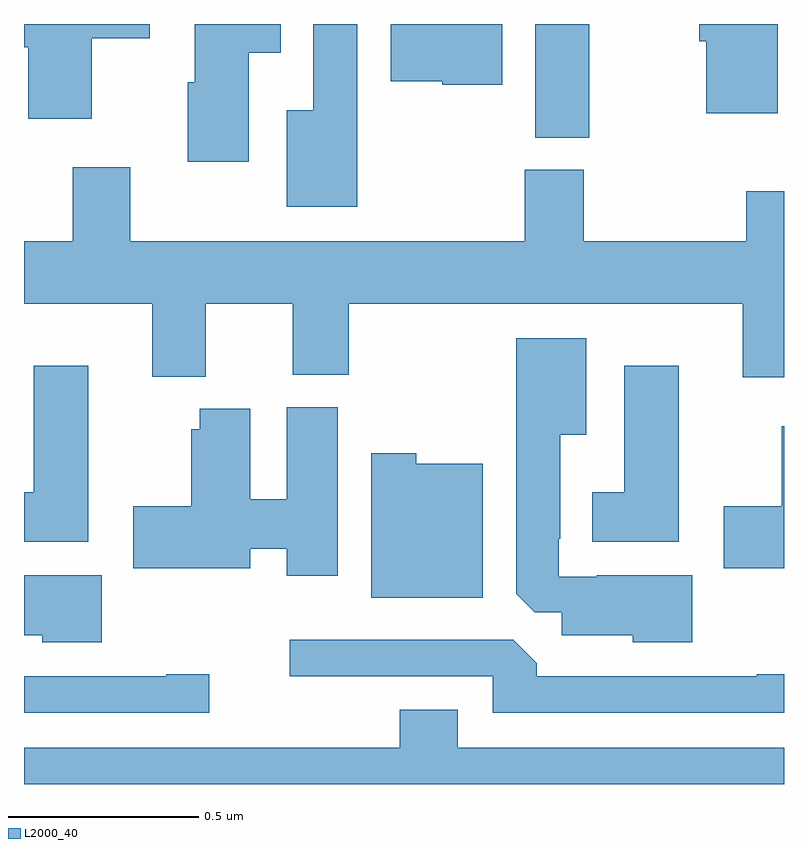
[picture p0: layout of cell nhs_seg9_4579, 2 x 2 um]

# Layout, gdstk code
import gdstk
lib = gdstk.Library(unit=1e-6, precision=1e-09)
def R(c, l, rs):  # rectangles x0, y0, x1, y1
    for r in rs: c.add(gdstk.rectangle(r[:2], r[2:], *l))
def P(c, l, *ps):  # polygons
    for p in ps: c.add(gdstk.Polygon(p, *l))
L2000_40 = (2000, 40)

nhs_seg9_4579 = lib.new_cell('nhs_seg9_4579')
R(nhs_seg9_4579, L2000_40, [(169.346,1186.201,169.488,1186.5)])
P(nhs_seg9_4579, L2000_40, [(168.178,1186.462),(168.331,1186.462),(168.331,1186.5),(168,1186.5),(168,1186.439),(168.011,1186.439),(168.011,1186.251),(168.178,1186.251)],
  [(168.592,1186.424),(168.676,1186.424),(168.676,1186.5),(168.449,1186.5),(168.449,1186.347),(168.431,1186.347),(168.431,1186.137),(168.592,1186.137)],
  [(168.877,1186.5),(168.761,1186.5),(168.761,1186.273),(168.692,1186.273),(168.692,1186.019),(168.877,1186.019)],
  [(169.984,1186.5),(169.777,1186.5),(169.777,1186.455),(169.796,1186.455),(169.796,1186.265),(169.984,1186.265)],
  [(169.258,1186.5),(168.965,1186.5),(168.965,1186.349),(169.101,1186.349),(169.101,1186.34),(169.258,1186.34)],
  [(170,1186.06),(169.9,1186.06),(169.9,1185.928),(169.473,1185.928),(169.473,1186.116),(169.318,1186.116),(169.318,1185.928),(168.28,1185.928),(168.28,1186.123),(168.128,1186.123),(168.128,1185.928),(168,1185.928),(168,1185.764),(168.338,1185.764),(168.338,1185.572),(168.478,1185.572),(168.478,1185.764),(168.707,1185.764),(168.707,1185.577),(168.855,1185.577),(168.855,1185.764),(169.892,1185.764),(169.892,1185.57),(170,1185.57)],
  [(169.759,1185.049),(169.507,1185.049),(169.507,1185.045),(169.407,1185.045),(169.407,1185.145),(169.411,1185.145),(169.411,1185.419),(169.48,1185.419),(169.48,1185.673),(169.295,1185.673),(169.295,1185.001),(169.344,1184.952),(169.415,1184.952),(169.415,1184.891),(169.602,1184.891),(169.602,1184.873),(169.759,1184.873)],
  [(169.723,1185.601),(169.58,1185.601),(169.58,1185.268),(169.496,1185.268),(169.496,1185.137),(169.723,1185.137)],
  [(168.169,1185.601),(168.026,1185.601),(168.026,1185.268),(168,1185.268),(168,1185.137),(168.169,1185.137)],
  [(168.826,1185.492),(168.692,1185.492),(168.692,1185.249),(168.595,1185.249),(168.595,1185.487),(168.463,1185.487),(168.463,1185.433),(168.44,1185.433),(168.44,1185.231),(168.288,1185.231),(168.288,1185.068),(168.595,1185.068),(168.595,1185.119),(168.692,1185.119),(168.692,1185.048),(168.826,1185.048)],
  [(170,1185.442),(169.994,1185.442),(169.994,1185.231),(169.842,1185.231),(169.842,1185.068),(170,1185.068)],
  [(169.207,1185.343),(169.032,1185.343),(169.032,1185.37),(168.914,1185.37),(168.914,1184.99),(169.207,1184.99)],
  [(168.205,1185.049),(168,1185.049),(168,1184.891),(168.048,1184.891),(168.048,1184.873),(168.205,1184.873)],
  [(170,1184.789),(169.928,1184.789),(169.928,1184.784),(169.349,1184.784),(169.349,1184.818),(169.287,1184.88),(168.699,1184.88),(168.699,1184.784),(169.233,1184.784),(169.233,1184.688),(170,1184.688)],
  [(168.487,1184.789),(168.374,1184.789),(168.374,1184.784),(168,1184.784),(168,1184.688),(168.487,1184.688)],
  [(170,1184.596),(169.141,1184.596),(169.141,1184.695),(168.989,1184.695),(168.989,1184.596),(168,1184.596),(168,1184.5),(170,1184.5)])

lib.write_gds('nhs_seg9_4579.gds')
